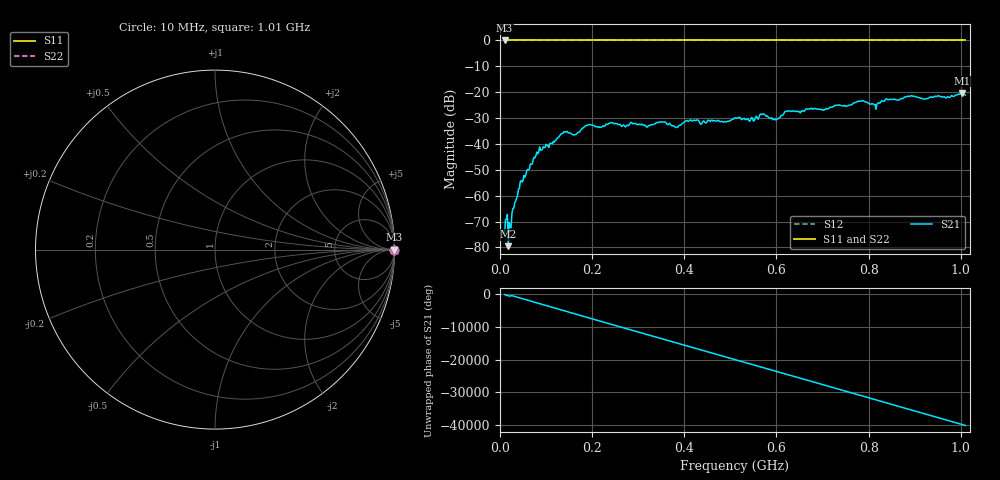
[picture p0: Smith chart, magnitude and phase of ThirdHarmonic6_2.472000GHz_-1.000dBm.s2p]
! 8/17/2025 4:33:26 AM
! C:\ANRITSUVNA\TEMP\TEMP.S2P
! CHANNEL.1
! TR.MEASUREMENT
! RAW.DATA
! RF.CORRECTION.OFF
! AVERAGING.OFF
! IF.BANDWIDTH: 5KHZ
! SWEEPTYPE:  FREQ.SWEEP(Linear)
! Reference Plane Port Info
! PORT:  PORT1  PORT2
! DISTANCE:  0  m  0  m
! TIME:  0  s  0  s
! PHASE.OFFSET:  0  deg.  0  deg.
! LOSS:  0  dB  0  dB
! REF.LOSS:  0  dB  0  dB
! REF.FREQ:  0  Hz  0  Hz
! Power Info
! POWER:  -20  dBm  -20  dBm
! EFF.POWER:  -20  dBm  -20  dBm
! SOURCE.ATTEN:  0  dB  0  dB
! TEST.ATTEN:  0  dB  0  dB
# GHZ S RI R 50.0
! FREQ.GHZ  S11RE  S11IM  S21RE  S21IM  S12RE  S12IM  S22RE  S22IM
!; PortSelection: Port_12
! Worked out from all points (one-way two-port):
!   501 points, 10 MHz to 1.01 GHz, reference 50 ohm
!   highest |S21| = -20.25 dB at 1.002 GHz (marker M1); lowest = -79.5 dB at 18 MHz (marker M2)
!   lowest |S11| = 0.0 dB at 10 MHz (marker M3)
!   |S11| at or under -10 dB: nowhere
!   |S22| runs from 0.0 to 0.0 dB; largest |S21 - S12| = 1.1
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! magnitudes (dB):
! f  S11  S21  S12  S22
! 10 MHz  0.0  -74.6  0.0  0.0
! 18 MHz  0.0  -79.5  0.0  0.0
! 22 MHz  0.0  -72.2  0.0  0.0
! 30 MHz  0.0  -64.7  0.0  0.0
! 44 MHz  0.0  -54.6  0.0  0.0
! 82 MHz  0.0  -43.8  0.0  0.0
! 136 MHz  0.0  -35.9  0.0  0.0
! 162 MHz  0.0  -36.5  0.0  0.0
! 178 MHz  0.0  -34.2  0.0  0.0
! 344 MHz  0.0  -31.7  0.0  0.0
! 382 MHz  0.0  -33.6  0.0  0.0
! 410 MHz  0.0  -31.1  0.0  0.0
! 510 MHz  0.0  -29.9  0.0  0.0
! 570 MHz  0.0  -28.4  0.0  0.0
! 596 MHz  0.0  -30.3  0.0  0.0
! 622 MHz  0.0  -27.4  0.0  0.0
! 678 MHz  0.0  -26.6  0.0  0.0
! 784 MHz  0.0  -23.4  0.0  0.0
! 814 MHz  0.0  -24.7  0.0  0.0
! 844 MHz  0.0  -22.9  0.0  0.0
! 1.002 GHz  0.0  -20.3  0.0  0.0
! 1.01 GHz  0.0  -21.1  0.0  0.0
